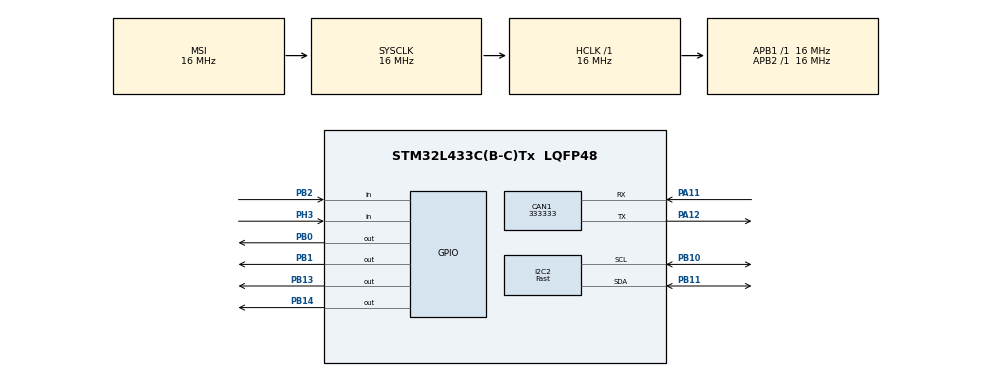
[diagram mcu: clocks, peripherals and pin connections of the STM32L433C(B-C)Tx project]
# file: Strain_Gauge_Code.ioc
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CAN1.CalculateBaudRate=333333
CAN1.CalculateTimeBit=3000
CAN1.CalculateTimeQuantum=1000.0
I2C2.CustomTiming=Disabled
I2C2.I2C_Speed_Mode=I2C_Fast
I2C2.Timing=0x00300617
Mcu.Family=STM32L4
Mcu.Name=STM32L433C(B-C)Tx
Mcu.Package=LQFP48
NVIC.PriorityGroup=NVIC_PRIORITYGROUP_4
PA11.Mode=CAN_Activate
PA11.Signal=CAN1_RX
PA12.Mode=CAN_Activate
PA12.Signal=CAN1_TX
PA13\ (JTMS-SWDIO).Signal=SYS_JTMS-SWDIO
PA14\ (JTCK-SWCLK).Signal=SYS_JTCK-SWCLK
PB0.Signal=GPIO_Output
PB1.Signal=GPIO_Output
PB10.Mode=I2C
PB10.Signal=I2C2_SCL
PB11.Mode=I2C
PB11.Signal=I2C2_SDA
PB13.Signal=GPIO_Output
PB14.Signal=GPIO_Output
PB2.Signal=GPIO_Input
PH3-BOOT0.Signal=GPIO_Input
ProjectManager.HeapSize=0x200
ProjectManager.StackSize=0x400
ProjectManager.TargetToolchain=STM32CubeIDE
RCC.ADCFreq_Value=64000000
RCC.AHBFreq_Value=16000000
RCC.APB1Freq_Value=16000000
RCC.APB1TimFreq_Value=16000000
RCC.APB2Freq_Value=16000000
RCC.APB2TimFreq_Value=16000000
RCC.CortexFreq_Value=16000000
RCC.HCLKFreq_Value=16000000
RCC.HSE_VALUE=8000000
RCC.HSI48_VALUE=48000000
RCC.HSI_VALUE=16000000
RCC.LSE_VALUE=32768
RCC.MSIClockRange=RCC_MSIRANGE_8
RCC.MSI_VALUE=16000000
RCC.SYSCLKFreq_VALUE=16000000
RCC.USBFreq_Value=64000000
RCC.VCOOutputFreq_Value=128000000
board=custom

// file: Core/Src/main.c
/* USER CODE BEGIN Header */
/**
  ******************************************************************************
  * @file           : main.c
  * @brief          : Main program body
  ******************************************************************************
  * @attention
  *
  * Copyright (c) 2026 STMicroelectronics.
  * All rights reserved.
  *
  * This software is licensed under terms that can be found in the LICENSE file
  * in the root directory of this software component.
  * If no LICENSE file comes with this software, it is provided AS-IS.
  *
  ******************************************************************************
  */
/* USER CODE END Header */
#include "main.h"

/* USER CODE BEGIN Includes */
#include "ADS1115.h"
#include "LSM6DSO.h"
/* USER CODE END Includes */

CAN_HandleTypeDef hcan1;

I2C_HandleTypeDef hi2c2;

/* USER CODE BEGIN PV */
ADS1115_Handle ads;
LSM6DSO_Handle imu;
/* USER CODE END PV */

void SystemClock_Config(void);
static void MX_GPIO_Init(void);
static void MX_CAN1_Init(void);
static void MX_I2C2_Init(void);

int main(void)
{

  /* MCU Configuration--------------------------------------------------------*/

  /* Reset of all peripherals, Initializes the Flash interface and the Systick. */
  HAL_Init();

  /* Configure the system clock */
  SystemClock_Config();

  /* Initialize all configured peripherals */
  MX_GPIO_Init();
  MX_CAN1_Init();
  MX_I2C2_Init();
  /* USER CODE BEGIN 2 */
  ADS1115_init(&ads, &hi2c2, ADS1115_I2C_ADDR);
  LSM6DSO_init(&imu, &hi2c2, LSM6DSO_I2C_ADDR);
  LSM6DSO_CalculateGravity(&imu);
  /* USER CODE END 2 */

  /* Infinite loop */
  while (1)
  {

    /* USER CODE BEGIN 3 */
	  int32_t sum_ain0 = 0;
	  int32_t sum_ain1 = 0;
	  int32_t sum_ain2 = 0;
	  for (int i = 0; i < 16; i++){
		  ADS1115_ReadRawData(&ads, 0); // read AIN0
		  sum_ain0 += ads.raw_strain[0];
		  ADS1115_ReadRawData(&ads, 1);
		  sum_ain1 += ads.raw_strain[1]; // read AIN1
		  ADS1115_ReadRawData(&ads, 2);
		  sum_ain2 += ads.raw_strain[2]; // read AIN2
	  }
	  // average oversampled values
	  int16_t avg_strain_ain0= sum_ain0 / 16;
	  int16_t avg_strain_ain1 = sum_ain1 / 16;
	  int16_t avg_strain_ain2 = sum_ain2 / 16;
	  ADS1115_ConvertToVoltage(&ads, avg_strain_ain0, avg_strain_ain1, avg_strain_ain2);
	  LSM6DSO_ReadRawData(&imu); // readIMU
	  LSM6DSO_ConvertData(&imu); // converted to acceleration, angular rate
	  // Strain(material) = raw strain - mass * ( (a(measured) - g(oriented)) / (Young's Modulus E * cross-sectional area A)
	  ADS1115_AdjustedStrain(&ads, &imu);
  }
  /* USER CODE END 3 */
}

void SystemClock_Config(void)
{
  RCC_OscInitTypeDef RCC_OscInitStruct = {0};
  RCC_ClkInitTypeDef RCC_ClkInitStruct = {0};

  /** Configure the main internal regulator output voltage
  */
  if (HAL_PWREx_ControlVoltageScaling(PWR_REGULATOR_VOLTAGE_SCALE1) != HAL_OK)
  {
    Error_Handler();
  }

  /** Initializes the RCC Oscillators according to the specified parameters
  * in the RCC_OscInitTypeDef structure.
  */
  RCC_OscInitStruct.OscillatorType = RCC_OSCILLATORTYPE_MSI;
  RCC_OscInitStruct.MSIState = RCC_MSI_ON;
  RCC_OscInitStruct.MSICalibrationValue = 0;
  RCC_OscInitStruct.MSIClockRange = RCC_MSIRANGE_8;
  RCC_OscInitStruct.PLL.PLLState = RCC_PLL_NONE;
  if (HAL_RCC_OscConfig(&RCC_OscInitStruct) != HAL_OK)
  {
    Error_Handler();
  }

  /** Initializes the CPU, AHB and APB buses clocks
  */
  RCC_ClkInitStruct.ClockType = RCC_CLOCKTYPE_HCLK|RCC_CLOCKTYPE_SYSCLK
                              |RCC_CLOCKTYPE_PCLK1|RCC_CLOCKTYPE_PCLK2;
  RCC_ClkInitStruct.SYSCLKSource = RCC_SYSCLKSOURCE_MSI;
  RCC_ClkInitStruct.AHBCLKDivider = RCC_SYSCLK_DIV1;
  RCC_ClkInitStruct.APB1CLKDivider = RCC_HCLK_DIV1;
  RCC_ClkInitStruct.APB2CLKDivider = RCC_HCLK_DIV1;

  if (HAL_RCC_ClockConfig(&RCC_ClkInitStruct, FLASH_LATENCY_0) != HAL_OK)
  {
    Error_Handler();
  }
}

static void MX_CAN1_Init(void)
{

  hcan1.Instance = CAN1;
  hcan1.Init.Prescaler = 16;
  hcan1.Init.Mode = CAN_MODE_NORMAL;
  hcan1.Init.SyncJumpWidth = CAN_SJW_1TQ;
  hcan1.Init.TimeSeg1 = CAN_BS1_1TQ;
  hcan1.Init.TimeSeg2 = CAN_BS2_1TQ;
  hcan1.Init.TimeTriggeredMode = DISABLE;
  hcan1.Init.AutoBusOff = DISABLE;
  hcan1.Init.AutoWakeUp = DISABLE;
  hcan1.Init.AutoRetransmission = DISABLE;
  hcan1.Init.ReceiveFifoLocked = DISABLE;
  hcan1.Init.TransmitFifoPriority = DISABLE;
  if (HAL_CAN_Init(&hcan1) != HAL_OK)
  {
    Error_Handler();
  }

}

static void MX_I2C2_Init(void)
{

  hi2c2.Instance = I2C2;
  hi2c2.Init.Timing = 0x00300617;
  hi2c2.Init.OwnAddress1 = 0;
  hi2c2.Init.AddressingMode = I2C_ADDRESSINGMODE_7BIT;
  hi2c2.Init.DualAddressMode = I2C_DUALADDRESS_DISABLE;
  hi2c2.Init.OwnAddress2 = 0;
  hi2c2.Init.OwnAddress2Masks = I2C_OA2_NOMASK;
  hi2c2.Init.GeneralCallMode = I2C_GENERALCALL_DISABLE;
  hi2c2.Init.NoStretchMode = I2C_NOSTRETCH_DISABLE;
  if (HAL_I2C_Init(&hi2c2) != HAL_OK)
  {
    Error_Handler();
  }

  /** Configure Analogue filter
  */
  if (HAL_I2CEx_ConfigAnalogFilter(&hi2c2, I2C_ANALOGFILTER_ENABLE) != HAL_OK)
  {
    Error_Handler();
  }

  /** Configure Digital filter
  */
  if (HAL_I2CEx_ConfigDigitalFilter(&hi2c2, 0) != HAL_OK)
  {
    Error_Handler();
  }

}

static void MX_GPIO_Init(void)
{
  GPIO_InitTypeDef GPIO_InitStruct = {0};

  /* GPIO Ports Clock Enable */
  __HAL_RCC_GPIOB_CLK_ENABLE();
  __HAL_RCC_GPIOA_CLK_ENABLE();
  __HAL_RCC_GPIOH_CLK_ENABLE();

  /*Configure GPIO pin Output Level */
  HAL_GPIO_WritePin(GPIOB, GPIO_PIN_0|GPIO_PIN_1|GPIO_PIN_13|GPIO_PIN_14, GPIO_PIN_RESET);

  /*Configure GPIO pins : PB0 PB1 PB13 PB14 */
  GPIO_InitStruct.Pin = GPIO_PIN_0|GPIO_PIN_1|GPIO_PIN_13|GPIO_PIN_14;
  GPIO_InitStruct.Mode = GPIO_MODE_OUTPUT_PP;
  GPIO_InitStruct.Pull = GPIO_NOPULL;
  GPIO_InitStruct.Speed = GPIO_SPEED_FREQ_LOW;
  HAL_GPIO_Init(GPIOB, &GPIO_InitStruct);

  /*Configure GPIO pin : PB2 */
  GPIO_InitStruct.Pin = GPIO_PIN_2;
  GPIO_InitStruct.Mode = GPIO_MODE_INPUT;
  GPIO_InitStruct.Pull = GPIO_NOPULL;
  HAL_GPIO_Init(GPIOB, &GPIO_InitStruct);

  /*Configure GPIO pin : PH3 */
  GPIO_InitStruct.Pin = GPIO_PIN_3;
  GPIO_InitStruct.Mode = GPIO_MODE_INPUT;
  GPIO_InitStruct.Pull = GPIO_NOPULL;
  HAL_GPIO_Init(GPIOH, &GPIO_InitStruct);

}

void Error_Handler(void)
{
  __disable_irq();
  while (1)
  {
  }
}
